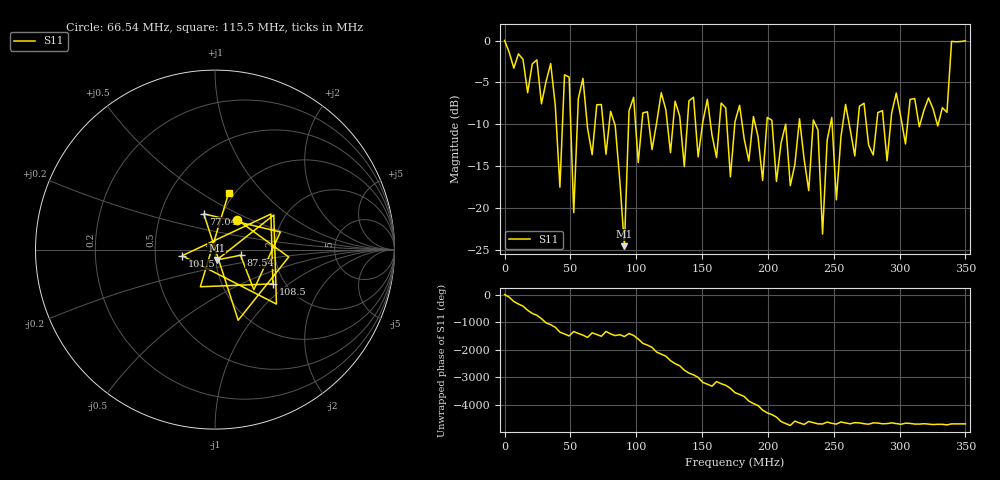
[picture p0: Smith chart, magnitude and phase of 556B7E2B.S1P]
!File created by NanoVNA
# Hz S RI R 50
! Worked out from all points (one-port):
!   101 points, 50 kHz to 350 MHz, reference 50 ohm
!   lowest |S11| = -24.6 dB at 91.04 MHz (marker M1), VSWR 1.13, Z = 50.6 - j5.91 ohm
!   |S11| at or under -10 dB: 62.76 MHz to 68.68 MHz (5.919 MHz wide, 9.01 % of centre); 83.73 MHz to 94.19 MHz (10.46 MHz wide, 11.8 % of centre); 236 MHz to 247.5 MHz (11.49 MHz wide, 4.75 % of centre) (the widest 3 of 25)
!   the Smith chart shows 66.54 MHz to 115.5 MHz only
!   S11 on the Smith chart (normalised r, x): 66.54 MHz: 1.20, +0.42; 77.04 MHz: 0.82, +0.34; 87.54 MHz: 1.33, -0.08; 101.5 MHz: 0.69, -0.05; 108.5 MHz: 1.74, -0.77; 115.5 MHz: 0.94, +0.66
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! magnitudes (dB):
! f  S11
! 50 kHz  0.0
! 35.05 MHz  -2.8
! 42.04 MHz  -17.5
! 45.54 MHz  -4.1
! 49.04 MHz  -4.4
! 52.54 MHz  -20.6
! 59.54 MHz  -4.5
! 66.54 MHz  -13.7
! 77.04 MHz  -13.6
! 87.54 MHz  -16.7
! 91.04 MHz  -24.6
! 94.54 MHz  -8.4
! 101.5 MHz  -14.6
! 108.5 MHz  -8.5
! 115.5 MHz  -9.8
! 133 MHz  -9.0
! 168 MHz  -8.1
! 171.5 MHz  -16.3
! 175 MHz  -9.7
! 220.5 MHz  -14.8
! 238 MHz  -10.7
! 241.5 MHz  -23.1
! 248.5 MHz  -9.2
! 252 MHz  -19.0
! 262.5 MHz  -10.7
! 308 MHz  -7.0
! 329 MHz  -10.2
! 350 MHz  0.0
